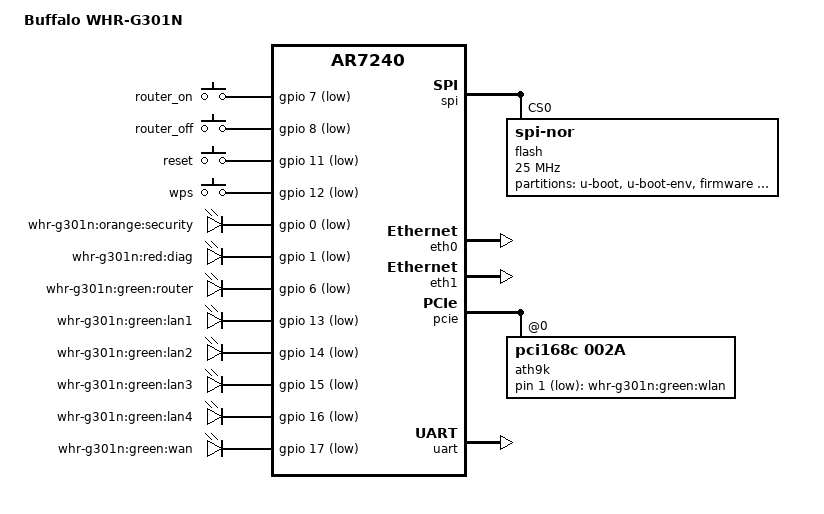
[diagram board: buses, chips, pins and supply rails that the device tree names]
// SPDX-License-Identifier: GPL-2.0-or-later OR MIT
/dts-v1/;

#include <dt-bindings/gpio/gpio.h>
#include <dt-bindings/input/input.h>

#include "ar7240.dtsi"

/ {
	compatible = "buffalo,whr-g301n", "qca,ar7240";
	model = "Buffalo WHR-G301N";

	aliases {
		led-boot = &diag;
		led-failsafe = &diag;
		led-upgrade = &diag;
	};

	keys {
		compatible = "gpio-keys-polled";
		poll-interval = <20>;

		router_on {
			label = "router_on";
			linux,code = <BTN_2>;
			linux,input-type = <EV_SW>;
			gpios = <&gpio 7 GPIO_ACTIVE_LOW>;
			debounce-interval = <60>;
		};

		router_off {
			label = "router_off";
			linux,code = <BTN_3>;
			linux,input-type = <EV_SW>;
			gpios = <&gpio 8 GPIO_ACTIVE_LOW>;
			debounce-interval = <60>;
		};

		reset {
			label = "reset";
			linux,code = <KEY_RESTART>;
			gpios = <&gpio 11 GPIO_ACTIVE_LOW>;
			debounce-interval = <60>;
		};

		wps {
			label = "wps";
			linux,code = <KEY_WPS_BUTTON>;
			gpios = <&gpio 12 GPIO_ACTIVE_LOW>;
			debounce-interval = <60>;
		};
	};

	gpio-leds {
		compatible = "gpio-leds";
		pinctrl-names = "default";
		pinctrl-0 = <&switch_led_pins>;

		security {
			label = "whr-g301n:orange:security";
			gpios = <&gpio 0 GPIO_ACTIVE_LOW>;
		};

		diag: diag {
			label = "whr-g301n:red:diag";
			gpios = <&gpio 1 GPIO_ACTIVE_LOW>;
		};

		router {
			label = "whr-g301n:green:router";
			gpios = <&gpio 6 GPIO_ACTIVE_LOW>;
		};

		lan1 {
			label = "whr-g301n:green:lan1";
			gpios = <&gpio 13 GPIO_ACTIVE_LOW>;
		};

		lan2 {
			label = "whr-g301n:green:lan2";
			gpios = <&gpio 14 GPIO_ACTIVE_LOW>;
		};

		lan3 {
			label = "whr-g301n:green:lan3";
			gpios = <&gpio 15 GPIO_ACTIVE_LOW>;
		};

		lan4 {
			label = "whr-g301n:green:lan4";
			gpios = <&gpio 16 GPIO_ACTIVE_LOW>;
		};

		wan {
			label = "whr-g301n:green:wan";
			gpios = <&gpio 17 GPIO_ACTIVE_LOW>;
		};
	};

	ath9k-leds {
		compatible = "gpio-leds";

		wlan {
			label = "whr-g301n:green:wlan";
			gpios = <&ath9k 1 GPIO_ACTIVE_LOW>;
			linux,default-trigger = "phy0tpt";
		};
	};
};

&spi {
	status = "okay";
	num-cs = <1>;

	flash@0 {
		compatible = "jedec,spi-nor";
		reg = <0>;
		spi-max-frequency = <25000000>;

		partitions {
			compatible = "fixed-partitions";
			#address-cells = <1>;
			#size-cells = <1>;

			partition@0 {
				reg = <0x0 0x3e000>;
				label = "u-boot";
				read-only;
			};

			partition@3e000 {
				reg = <0x3e000 0x2000>;
				label = "u-boot-env";
				read-only;
			};

			partition@40000 {
				compatible = "denx,uimage";
				reg = <0x40000 0x3a0000>;
				label = "firmware";
			};

			partition@3e0000 {
				reg = <0x3e0000 0x10000>;
				label = "user_property";
				read-only;
			};

			art: partition@3f0000 {
				reg = <0x3f0000 0x10000>;
				label = "art";
				read-only;
			};
		};
	};
};

&eth0 {
	status = "okay";

	mtd-mac-address = <&art 0x120c>;
};

&eth1 {
	status = "okay";

	mtd-mac-address = <&art 0x120c>;
	mtd-mac-address-increment = <1>;
};

&pcie {
	status = "okay";

	ath9k: wifi@0,0 {
		compatible = "pci168c,002a";
		reg = <0x0000 0 0 0 0>;
		qca,no-eeprom;
		mtd-mac-address = <&art 0x120c>;
		#gpio-cells = <2>;
		gpio-controller;
	};
};

&pinmux {
	switch_led_pins: switch_led_pins {
		pinctrl-single,bits = <0x0 0x0 0xf8>;
	};
};

&uart {
	status = "okay";
};
